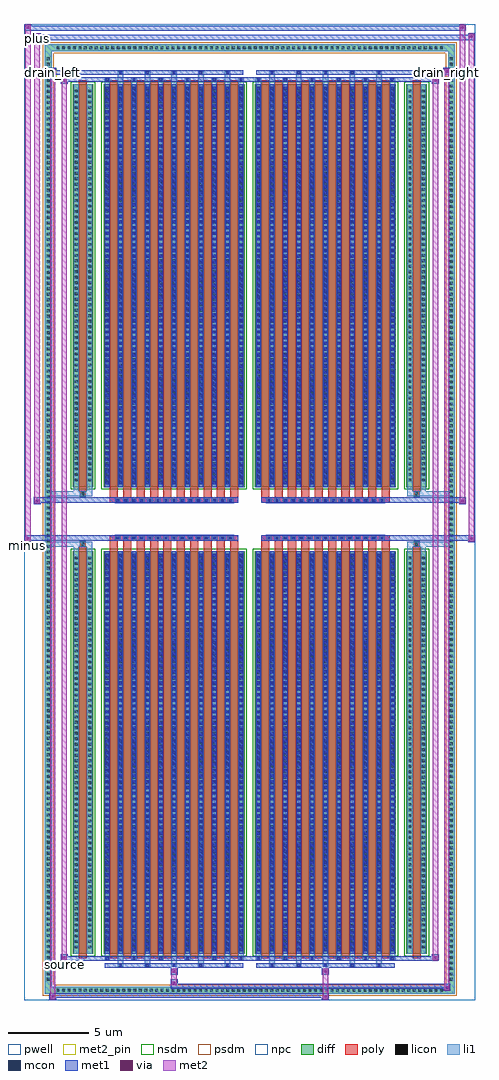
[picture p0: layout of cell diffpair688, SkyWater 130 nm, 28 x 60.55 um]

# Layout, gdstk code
import gdstk
lib = gdstk.Library(unit=1e-6, precision=5e-09)
def R(c, l, rs):  # rectangles x0, y0, x1, y1
    for r in rs: c.add(gdstk.rectangle(r[:2], r[2:], *l))
def A(c, l, x, y, w, h, nx, ny, dx, dy):  # array of equal rectangles
    R(c, l, [(x+i*dx, y+j*dy, x+i*dx+w, y+j*dy+h) for i in range(nx) for j in range(ny)])
def P(c, l, *ps):  # polygons
    for p in ps: c.add(gdstk.Polygon(p, *l))
pwell = (64, 44)
diff = (65, 20)
poly = (66, 20)
licon = (66, 44)
li1 = (67, 20)
mcon = (67, 44)
met1 = (68, 20)
via = (68, 44)
met2_pin = (69, 16)
met2 = (69, 20)
nsdm = (93, 44)
psdm = (94, 20)
npc = (95, 20)

diffpair688 = lib.new_cell('diffpair688')
R(diffpair688, pwell, [(-13.98,-29.84,13.98,30.71), (-11.3,-28.03,-0.01,-0.805), (0.01,-28.03,11.3,-0.805), (-11.3,0.805,-0.01,28.03), (0.01,0.805,11.3,28.03)])
A(diffpair688, diff, -12.105, -29.44, 0.41, 0.41, 71, 2, 0.34, 58.47)
A(diffpair688, diff, -12.71, -28.765, 0.41, 0.41, 1, 169, 0, 0.34)
A(diffpair688, diff, 12.3, -28.765, 0.41, 0.41, 1, 169, 0, 0.34)
R(diffpair688, diff, [(-12.105,-29.44,12.105,-29.03), (-12.71,-28.765,-12.3,28.765), (12.3,-28.765,12.71,28.765), (-10.99,-26.985,-9.71,-1.985), (-9.07,-26.985,-0.32,-1.985), (0.32,-26.985,9.07,-1.985), (9.71,-26.985,10.99,-1.985), (-10.99,1.985,-9.71,26.985), (-9.07,1.985,-0.32,26.985), (0.32,1.985,9.07,26.985), (9.71,1.985,10.99,26.985), (-12.105,29.03,12.105,29.44)])
P(diffpair688, diff, [(12.71,29.44),(-12.71,29.44),(-12.71,-29.03),(-12.3,-29.03),(-12.3,29.03),(12.3,29.03),(12.3,-29.03),(-12.3,-29.03),(-12.71,-29.03),(-12.71,-29.44),(12.71,-29.44)])
A(diffpair688, poly, -8.68, -27.235, 0.5, 25.5, 10, 2, 0.83, 28.97)
A(diffpair688, poly, 0.71, -27.235, 0.5, 25.5, 10, 2, 0.83, 28.97)
A(diffpair688, poly, -8.68, -1.735, 0.5, 0.4, 10, 2, 0.83, 3.07)
A(diffpair688, poly, 0.71, -1.735, 0.5, 0.4, 10, 2, 0.83, 3.07)
A(diffpair688, poly, -8.36, -1.335, 0.33, 0.33, 15, 2, 0.5, 2.34)
A(diffpair688, poly, 1.03, -1.335, 0.33, 0.33, 15, 2, 0.5, 2.34)
R(diffpair688, poly, [(-10.6,-27.235,-10.1,-1.735), (10.1,-27.235,10.6,-1.735), (-10.515,-1.735,-10.185,-1.405), (-10.515,-1.735,-10.185,-1.405), (10.185,-1.735,10.515,-1.405), (10.185,-1.735,10.515,-1.405), (-8.68,-1.335,-0.71,-1.005), (0.71,-1.335,8.68,-1.005), (-8.68,1.005,-0.71,1.335), (0.71,1.005,8.68,1.335), (-10.515,1.405,-10.185,1.735), (-10.515,1.405,-10.185,1.735), (10.185,1.405,10.515,1.735), (10.185,1.405,10.515,1.735), (-10.6,1.735,-10.1,27.235), (10.1,1.735,10.6,27.235)])
A(diffpair688, licon, -11.985, -29.32, 0.17, 0.17, 71, 2, 0.34, 58.47)
A(diffpair688, licon, -12.59, -28.645, 0.17, 0.17, 1, 169, 0, 0.34)
A(diffpair688, licon, 12.42, -28.645, 0.17, 0.17, 1, 169, 0, 0.34)
A(diffpair688, licon, -10.85, -26.64, 0.17, 0.17, 1, 72, 0, 0.34)
A(diffpair688, licon, -10.02, -26.64, 0.17, 0.17, 1, 72, 0, 0.34)
A(diffpair688, licon, -8.93, -26.64, 0.17, 0.17, 11, 72, 0.83, 0.34)
A(diffpair688, licon, 0.46, -26.64, 0.17, 0.17, 11, 72, 0.83, 0.34)
A(diffpair688, licon, 9.85, -26.64, 0.17, 0.17, 1, 72, 0, 0.34)
A(diffpair688, licon, 10.68, -26.64, 0.17, 0.17, 1, 72, 0, 0.34)
A(diffpair688, licon, -8.28, -1.255, 0.17, 0.17, 15, 2, 0.5, 2.34)
A(diffpair688, licon, 1.11, -1.255, 0.17, 0.17, 15, 2, 0.5, 2.34)
A(diffpair688, licon, -10.85, 2.33, 0.17, 0.17, 1, 72, 0, 0.34)
A(diffpair688, licon, -10.02, 2.33, 0.17, 0.17, 1, 72, 0, 0.34)
A(diffpair688, licon, -8.93, 2.33, 0.17, 0.17, 11, 72, 0.83, 0.34)
A(diffpair688, licon, 0.46, 2.33, 0.17, 0.17, 11, 72, 0.83, 0.34)
A(diffpair688, licon, 9.85, 2.33, 0.17, 0.17, 1, 72, 0, 0.34)
A(diffpair688, licon, 10.68, 2.33, 0.17, 0.17, 1, 72, 0, 0.34)
R(diffpair688, licon, [(-10.435,-1.655,-10.265,-1.485), (10.265,-1.655,10.435,-1.485), (-10.435,1.485,-10.265,1.655), (10.265,1.485,10.435,1.655)])
A(diffpair688, li1, -12.065, -29.4, 0.33, 0.33, 71, 2, 0.34, 58.47)
A(diffpair688, li1, -12.67, -28.725, 0.33, 0.33, 1, 169, 0, 0.34)
A(diffpair688, li1, 12.34, -28.725, 0.33, 0.33, 1, 169, 0, 0.34)
A(diffpair688, li1, -8.18, -27.79, 0.33, 0.805, 5, 2, 1.66, 54.775)
A(diffpair688, li1, -8.1, -27.79, 0.17, 0.17, 5, 2, 1.66, 55.41)
A(diffpair688, li1, 1.21, -27.79, 0.33, 0.805, 5, 2, 1.66, 54.775)
A(diffpair688, li1, 1.29, -27.79, 0.17, 0.17, 5, 2, 1.66, 55.41)
A(diffpair688, li1, -9.01, -27.36, 0.33, 0.375, 6, 2, 1.66, 54.345)
A(diffpair688, li1, -8.93, -27.36, 0.17, 0.17, 6, 2, 1.66, 54.55)
A(diffpair688, li1, 0.38, -27.36, 0.33, 0.375, 6, 2, 1.66, 54.345)
A(diffpair688, li1, 0.46, -27.36, 0.17, 0.17, 6, 2, 1.66, 54.55)
A(diffpair688, li1, -9.01, -26.985, 0.33, 25, 11, 2, 0.83, 28.97)
A(diffpair688, li1, 0.38, -26.985, 0.33, 25, 11, 2, 0.83, 28.97)
A(diffpair688, li1, -8.93, -26.81, 0.17, 0.17, 11, 69, 0.83, 0.36)
A(diffpair688, li1, -8.93, -26.81, 0.17, 24.65, 11, 2, 0.83, 28.97)
A(diffpair688, li1, 0.46, -26.81, 0.17, 0.17, 11, 69, 0.83, 0.36)
A(diffpair688, li1, 0.46, -26.81, 0.17, 24.65, 11, 2, 0.83, 28.97)
A(diffpair688, li1, -10.93, -26.72, 0.33, 0.33, 1, 72, 0, 0.34)
A(diffpair688, li1, -10.1, -26.72, 0.33, 0.33, 1, 72, 0, 0.34)
A(diffpair688, li1, -9.01, -26.72, 0.33, 0.33, 11, 72, 0.83, 0.34)
A(diffpair688, li1, 0.38, -26.72, 0.33, 0.33, 11, 72, 0.83, 0.34)
A(diffpair688, li1, 9.77, -26.72, 0.33, 0.33, 1, 72, 0, 0.34)
A(diffpair688, li1, 10.6, -26.72, 0.33, 0.33, 1, 72, 0, 0.34)
A(diffpair688, li1, -8.36, -1.335, 0.33, 0.33, 15, 2, 0.5, 2.34)
A(diffpair688, li1, 1.03, -1.335, 0.33, 0.33, 15, 2, 0.5, 2.34)
A(diffpair688, li1, -8.93, 2.16, 0.17, 0.17, 11, 69, 0.83, 0.36)
A(diffpair688, li1, 0.46, 2.16, 0.17, 0.17, 11, 69, 0.83, 0.36)
A(diffpair688, li1, -10.93, 2.25, 0.33, 0.33, 1, 72, 0, 0.34)
A(diffpair688, li1, -10.1, 2.25, 0.33, 0.33, 1, 72, 0, 0.34)
A(diffpair688, li1, -9.01, 2.25, 0.33, 0.33, 11, 72, 0.83, 0.34)
A(diffpair688, li1, 0.38, 2.25, 0.33, 0.33, 11, 72, 0.83, 0.34)
A(diffpair688, li1, 9.77, 2.25, 0.33, 0.33, 1, 72, 0, 0.34)
A(diffpair688, li1, 10.6, 2.25, 0.33, 0.33, 1, 72, 0, 0.34)
R(diffpair688, li1, [(-12.71,-29.44,-12.3,-29.03), (-12.71,-29.44,-12.3,-29.03), (-12.3,-29.44,12.3,-29.03), (12.3,-29.44,12.71,-29.03), (12.3,-29.44,12.71,-29.03), (-12.71,-29.03,-12.3,29.03), (12.3,-29.03,12.71,29.03), (-10.93,-26.985,-10.6,-1.985), (-10.1,-26.985,-9.77,-1.985), (9.77,-26.985,10.1,-1.985), (10.6,-26.985,10.93,-1.985), (-10.93,-1.985,-10.6,-1.405), (-10.1,-1.985,-9.77,-1.405), (9.77,-1.985,10.1,-1.405), (10.6,-1.985,10.93,-1.405), (-12.71,-1.735,-10.515,-1.405), (-10.93,-1.735,-10.515,-1.405), (-10.515,-1.735,-10.185,-1.405), (-10.185,-1.735,-9.77,-1.405), (9.77,-1.735,10.185,-1.405), (10.185,-1.735,10.515,-1.405), (10.185,-1.735,12.71,-1.405), (10.515,-1.735,10.93,-1.405), (-12.71,1.405,-10.515,1.735), (-10.93,1.405,-10.515,1.735), (-10.93,1.405,-10.6,1.985), (-10.515,1.405,-10.185,1.735), (-10.185,1.405,-9.77,1.735), (-10.1,1.405,-9.77,1.985), (9.77,1.405,10.185,1.735), (9.77,1.405,10.1,1.985), (10.185,1.405,10.515,1.735), (10.185,1.405,12.71,1.735), (10.515,1.405,10.93,1.735), (10.6,1.405,10.93,1.985), (-10.93,1.985,-10.6,26.985), (-10.1,1.985,-9.77,26.985), (9.77,1.985,10.1,26.985), (10.6,1.985,10.93,26.985), (-12.71,29.03,-12.3,29.44), (-12.71,29.03,-12.3,29.44), (-12.3,29.03,12.3,29.44), (12.3,29.03,12.71,29.44), (12.3,29.03,12.71,29.44)])
A(diffpair688, mcon, -8.1, -27.79, 0.17, 0.17, 5, 2, 1.66, 55.41)
A(diffpair688, mcon, 1.29, -27.79, 0.17, 0.17, 5, 2, 1.66, 55.41)
A(diffpair688, mcon, -8.93, -27.36, 0.17, 0.17, 6, 2, 1.66, 54.55)
A(diffpair688, mcon, 0.46, -27.36, 0.17, 0.17, 6, 2, 1.66, 54.55)
A(diffpair688, mcon, -8.93, -26.81, 0.17, 0.17, 11, 69, 0.83, 0.36)
A(diffpair688, mcon, 0.46, -26.81, 0.17, 0.17, 11, 69, 0.83, 0.36)
A(diffpair688, mcon, -8.28, -1.255, 0.17, 0.17, 15, 2, 0.5, 2.34)
A(diffpair688, mcon, 1.11, -1.255, 0.17, 0.17, 15, 2, 0.5, 2.34)
A(diffpair688, mcon, -8.93, 2.16, 0.17, 0.17, 11, 69, 0.83, 0.36)
A(diffpair688, mcon, 0.46, 2.16, 0.17, 0.17, 11, 69, 0.83, 0.36)
A(diffpair688, met1, -8.16, -27.85, 0.29, 0.29, 5, 2, 1.66, 55.41)
A(diffpair688, met1, 1.23, -27.85, 0.29, 0.29, 5, 2, 1.66, 55.41)
A(diffpair688, met1, -8.99, -27.42, 0.29, 0.29, 6, 2, 1.66, 54.55)
A(diffpair688, met1, 0.4, -27.42, 0.29, 0.29, 6, 2, 1.66, 54.55)
A(diffpair688, met1, -8.99, -26.985, 0.29, 25, 11, 2, 0.83, 28.97)
A(diffpair688, met1, 0.4, -26.985, 0.29, 25, 11, 2, 0.83, 28.97)
A(diffpair688, met1, -8.99, -26.87, 0.29, 0.29, 11, 69, 0.83, 0.36)
A(diffpair688, met1, 0.4, -26.87, 0.29, 0.29, 11, 69, 0.83, 0.36)
A(diffpair688, met1, -8.34, -1.315, 0.29, 0.29, 15, 2, 0.5, 2.34)
A(diffpair688, met1, 1.05, -1.315, 0.29, 0.29, 15, 2, 0.5, 2.34)
A(diffpair688, met1, -8.99, 2.1, 0.29, 0.29, 11, 69, 0.83, 0.36)
A(diffpair688, met1, 0.4, 2.1, 0.29, 0.29, 11, 69, 0.83, 0.36)
R(diffpair688, met1, [(-12.44,-29.84,-12.01,-29.41), (4.48,-29.84,4.91,-29.41), (-12.44,-29.7,4.91,-29.41), (12.01,-29.27,12.44,-28.84), (-4.91,-29.13,12.44,-28.84), (-4.91,-28.99,-4.48,-28.56), (-4.91,-28.28,-4.48,-27.85), (4.48,-28.28,4.91,-27.85), (-8.99,-27.85,-0.4,-27.56), (0.4,-27.85,8.99,-27.56), (-11.73,-27.42,-11.3,-26.99), (-11.73,-27.42,-8.99,-27.13), (-8.99,-27.42,-0.4,-27.13), (-0.4,-27.42,0.4,-27.13), (0.4,-27.42,8.99,-27.13), (8.99,-27.42,11.73,-27.13), (11.3,-27.42,11.73,-26.99), (-13.98,-1.435,-13.55,-1.005), (13.55,-1.435,13.98,-1.005), (-13.98,-1.335,-0.71,-1.005), (-8.68,-1.335,-0.71,-1.005), (0.71,-1.335,8.68,-1.005), (0.71,-1.335,13.98,-1.005), (-13.41,0.905,-12.98,1.335), (12.98,0.905,13.41,1.335), (-13.41,1.005,-8.68,1.335), (-8.68,1.005,-0.71,1.335), (0.71,1.005,8.68,1.335), (8.68,1.005,13.41,1.335), (-11.73,26.99,-11.3,27.42), (11.3,26.99,11.73,27.42), (-11.73,27.13,-8.99,27.42), (-8.99,27.13,-0.4,27.42), (-0.4,27.13,0.4,27.42), (0.4,27.13,8.99,27.42), (8.99,27.13,11.73,27.42), (-12.44,27.56,-12.01,27.99), (-12.44,27.56,-8.99,27.85), (-8.99,27.56,-0.4,27.85), (0.4,27.56,8.99,27.85), (8.99,27.56,12.44,27.85), (12.01,27.56,12.44,27.99), (-13.41,29.71,-12.98,30.14), (-13.41,29.71,-11.3,30.04), (-11.3,29.71,11.3,30.04), (11.3,29.71,13.98,30.04), (13.55,29.71,13.98,30.14), (-13.98,30.28,-13.55,30.71), (-13.98,30.28,-11.3,30.61), (-11.3,30.28,11.3,30.61), (11.3,30.28,13.41,30.61), (12.98,30.28,13.41,30.71)])
R(diffpair688, via, [(-12.3,-29.7,-12.15,-29.55), (4.62,-29.7,4.77,-29.55), (12.15,-29.13,12.3,-28.98), (-4.77,-28.85,-4.62,-28.7), (-4.77,-28.14,-4.62,-27.99), (4.62,-28.14,4.77,-27.99), (-11.59,-27.28,-11.44,-27.13), (11.44,-27.28,11.59,-27.13), (-13.84,-1.295,-13.69,-1.145), (13.69,-1.295,13.84,-1.145), (-13.27,1.045,-13.12,1.195), (13.12,1.045,13.27,1.195), (-11.59,27.13,-11.44,27.28), (11.44,27.13,11.59,27.28), (-12.3,27.7,-12.15,27.85), (12.15,27.7,12.3,27.85), (-13.27,29.85,-13.12,30), (13.69,29.85,13.84,30), (-13.84,30.42,-13.69,30.57), (13.12,30.42,13.27,30.57)])
R(diffpair688, met2_pin, [(-11.765,-27.87,-11.265,-27.37), (-14.015,-1.885,-13.515,-1.385), (-12.475,27.44,-11.975,27.94), (11.975,27.44,12.475,27.94), (-13.445,29.59,-12.945,30.09)])
R(diffpair688, met2, [(-12.39,-29.79,-12.06,-29.46), (-12.39,-29.79,-12.06,27.94), (4.53,-29.79,4.86,-29.46), (4.53,-29.46,4.86,-28.23), (12.06,-29.22,12.39,-28.89), (12.06,-29.22,12.39,27.94), (-4.86,-28.94,-4.53,-28.61), (-4.86,-28.61,-4.53,-28.23), (-4.86,-28.23,-4.53,-27.9), (4.53,-28.23,4.86,-27.9), (-11.68,-27.37,-11.35,-27.04), (-11.68,-27.37,-11.35,27.37), (11.35,-27.37,11.68,-27.04), (11.35,-27.37,11.68,27.37), (-13.93,-1.385,-13.6,-1.055), (-13.93,-1.385,-13.6,30.66), (13.6,-1.385,13.93,-1.055), (13.6,-1.385,13.93,30.09), (-13.36,0.955,-13.03,1.285), (-13.36,0.955,-13.03,30.09), (13.03,0.955,13.36,1.285), (13.03,0.955,13.36,30.66), (-11.68,27.04,-11.35,27.37), (11.35,27.04,11.68,27.37), (-12.39,27.61,-12.06,27.94), (12.06,27.61,12.39,27.94), (-13.36,29.76,-13.03,30.09), (13.6,29.76,13.93,30.09), (-13.93,30.33,-13.6,30.66), (13.03,30.33,13.36,30.66)])
P(diffpair688, met2, [(13.93,-1.385),(13.93,-1.385),(13.93,-1.055),(13.93,-1.055)],
  [(13.93,29.76),(13.93,29.76),(13.93,30.09),(13.93,30.09)],
  [(-13.6,-1.385),(-13.6,-1.385),(-13.6,-1.055),(-13.6,-1.055)],
  [(-13.6,30.33),(-13.6,30.33),(-13.6,30.66),(-13.6,30.66)],
  [(13.36,0.955),(13.36,0.955),(13.36,1.285),(13.36,1.285)],
  [(13.36,30.33),(13.36,30.33),(13.36,30.66),(13.36,30.66)],
  [(-13.03,0.955),(-13.03,0.955),(-13.03,1.285),(-13.03,1.285)],
  [(-13.03,29.76),(-13.03,29.76),(-13.03,30.09),(-13.03,30.09)],
  [(-12.06,-29.79),(-12.06,-29.79),(-12.06,-29.46),(-12.06,-29.46)],
  [(-12.06,27.61),(-12.06,27.61),(-12.06,27.94),(-12.06,27.94)],
  [(12.39,-29.22),(12.39,-29.22),(12.39,-28.89),(12.39,-28.89)],
  [(12.39,27.61),(12.39,27.61),(12.39,27.94),(12.39,27.94)],
  [(-11.35,-27.37),(-11.35,-27.37),(-11.35,-27.04),(-11.35,-27.04)],
  [(-11.35,27.04),(-11.35,27.04),(-11.35,27.37),(-11.35,27.37)],
  [(11.68,-27.37),(11.68,-27.37),(11.68,-27.04),(11.68,-27.04)],
  [(11.68,27.04),(11.68,27.04),(11.68,27.37),(11.68,27.37)])
R(diffpair688, nsdm, [(-11.12,-27.115,-9.58,-1.855), (-9.2,-27.115,-0.19,-1.855), (0.19,-27.115,9.2,-1.855), (9.58,-27.115,11.12,-1.855), (-11.12,1.855,-9.58,27.115), (-9.2,1.855,-0.19,27.115), (0.19,1.855,9.2,27.115), (9.58,1.855,11.12,27.115)])
P(diffpair688, psdm, [(12.84,29.57),(-12.84,29.57),(-12.84,-28.9),(-12.17,-28.9),(-12.17,28.9),(12.17,28.9),(12.17,-28.9),(-12.17,-28.9),(-12.84,-28.9),(-12.84,-29.57),(12.84,-29.57)])
A(diffpair688, npc, -8.38, -1.355, 0.37, 0.37, 15, 2, 0.5, 2.34)
A(diffpair688, npc, 1.01, -1.355, 0.37, 0.37, 15, 2, 0.5, 2.34)
R(diffpair688, npc, [(-10.535,-1.755,-10.165,-1.385), (10.165,-1.755,10.535,-1.385), (-8.38,-1.355,-7.51,-0.985), (-8.38,-1.355,-7.51,-0.985), (-7.88,-1.355,-7.01,-0.985), (-7.88,-1.355,-7.01,-0.985), (-7.38,-1.355,-6.51,-0.985), (-7.38,-1.355,-6.51,-0.985), (-6.88,-1.355,-6.01,-0.985), (-6.88,-1.355,-6.01,-0.985), (-6.38,-1.355,-5.51,-0.985), (-6.38,-1.355,-5.51,-0.985), (-5.88,-1.355,-5.01,-0.985), (-5.88,-1.355,-5.01,-0.985), (-5.38,-1.355,-4.51,-0.985), (-5.38,-1.355,-4.51,-0.985), (-4.88,-1.355,-4.01,-0.985), (-4.88,-1.355,-4.01,-0.985), (-4.38,-1.355,-3.51,-0.985), (-4.38,-1.355,-3.51,-0.985), (-3.88,-1.355,-3.01,-0.985), (-3.88,-1.355,-3.01,-0.985), (-3.38,-1.355,-2.51,-0.985), (-3.38,-1.355,-2.51,-0.985), (-2.88,-1.355,-2.01,-0.985), (-2.88,-1.355,-2.01,-0.985), (-2.38,-1.355,-1.51,-0.985), (-2.38,-1.355,-1.51,-0.985), (-1.88,-1.355,-1.01,-0.985), (-1.88,-1.355,-1.01,-0.985), (1.01,-1.355,1.88,-0.985), (1.01,-1.355,1.88,-0.985), (1.51,-1.355,2.38,-0.985), (1.51,-1.355,2.38,-0.985), (2.01,-1.355,2.88,-0.985), (2.01,-1.355,2.88,-0.985), (2.51,-1.355,3.38,-0.985), (2.51,-1.355,3.38,-0.985), (3.01,-1.355,3.88,-0.985), (3.01,-1.355,3.88,-0.985), (3.51,-1.355,4.38,-0.985), (3.51,-1.355,4.38,-0.985), (4.01,-1.355,4.88,-0.985), (4.01,-1.355,4.88,-0.985), (4.51,-1.355,5.38,-0.985), (4.51,-1.355,5.38,-0.985), (5.01,-1.355,5.88,-0.985), (5.01,-1.355,5.88,-0.985), (5.51,-1.355,6.38,-0.985), (5.51,-1.355,6.38,-0.985), (6.01,-1.355,6.88,-0.985), (6.01,-1.355,6.88,-0.985), (6.51,-1.355,7.38,-0.985), (6.51,-1.355,7.38,-0.985), (7.01,-1.355,7.88,-0.985), (7.01,-1.355,7.88,-0.985), (7.51,-1.355,8.38,-0.985), (7.51,-1.355,8.38,-0.985), (-8.38,0.985,-7.51,1.355), (-8.38,0.985,-7.51,1.355), (-7.88,0.985,-7.01,1.355), (-7.88,0.985,-7.01,1.355), (-7.38,0.985,-6.51,1.355), (-7.38,0.985,-6.51,1.355), (-6.88,0.985,-6.01,1.355), (-6.88,0.985,-6.01,1.355), (-6.38,0.985,-5.51,1.355), (-6.38,0.985,-5.51,1.355), (-5.88,0.985,-5.01,1.355), (-5.88,0.985,-5.01,1.355), (-5.38,0.985,-4.51,1.355), (-5.38,0.985,-4.51,1.355), (-4.88,0.985,-4.01,1.355), (-4.88,0.985,-4.01,1.355), (-4.38,0.985,-3.51,1.355), (-4.38,0.985,-3.51,1.355), (-3.88,0.985,-3.01,1.355), (-3.88,0.985,-3.01,1.355), (-3.38,0.985,-2.51,1.355), (-3.38,0.985,-2.51,1.355), (-2.88,0.985,-2.01,1.355), (-2.88,0.985,-2.01,1.355), (-2.38,0.985,-1.51,1.355), (-2.38,0.985,-1.51,1.355), (-1.88,0.985,-1.01,1.355), (-1.88,0.985,-1.01,1.355), (1.01,0.985,1.88,1.355), (1.01,0.985,1.88,1.355), (1.51,0.985,2.38,1.355), (1.51,0.985,2.38,1.355), (2.01,0.985,2.88,1.355), (2.01,0.985,2.88,1.355), (2.51,0.985,3.38,1.355), (2.51,0.985,3.38,1.355), (3.01,0.985,3.88,1.355), (3.01,0.985,3.88,1.355), (3.51,0.985,4.38,1.355), (3.51,0.985,4.38,1.355), (4.01,0.985,4.88,1.355), (4.01,0.985,4.88,1.355), (4.51,0.985,5.38,1.355), (4.51,0.985,5.38,1.355), (5.01,0.985,5.88,1.355), (5.01,0.985,5.88,1.355), (5.51,0.985,6.38,1.355), (5.51,0.985,6.38,1.355), (6.01,0.985,6.88,1.355), (6.01,0.985,6.88,1.355), (6.51,0.985,7.38,1.355), (6.51,0.985,7.38,1.355), (7.01,0.985,7.88,1.355), (7.01,0.985,7.88,1.355), (7.51,0.985,8.38,1.355), (7.51,0.985,8.38,1.355), (-10.535,1.385,-10.165,1.755), (10.165,1.385,10.535,1.755)])
diffpair688.add(gdstk.Label('minus', (-13.765,-1.635), layer=69, texttype=5))
diffpair688.add(gdstk.Label('drain_right', (12.225,27.69), layer=69, texttype=5))
diffpair688.add(gdstk.Label('drain_left', (-12.225,27.69), layer=69, texttype=5))
diffpair688.add(gdstk.Label('source', (-11.515,-27.62), layer=69, texttype=5))
diffpair688.add(gdstk.Label('plus', (-13.195,29.84), layer=69, texttype=5))

lib.write_gds('diffpair688.gds')
